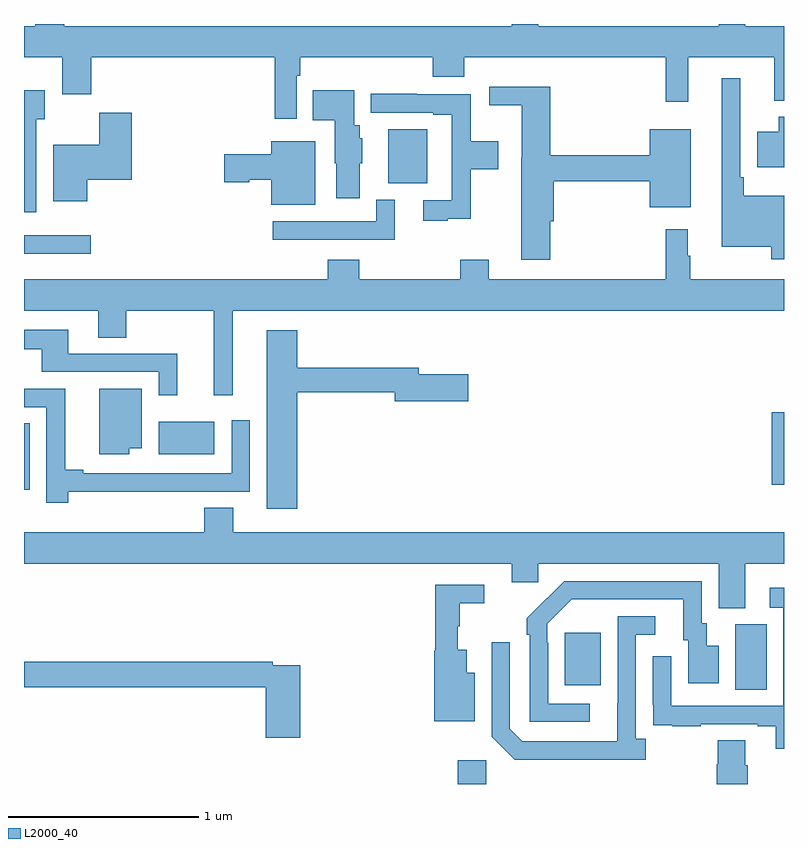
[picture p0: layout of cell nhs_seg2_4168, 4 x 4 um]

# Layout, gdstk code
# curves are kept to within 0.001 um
import gdstk
lib = gdstk.Library(unit=1e-6, precision=1e-09)
def R(c, l, rs):  # rectangles x0, y0, x1, y1
    for r in rs: c.add(gdstk.rectangle(r[:2], r[2:], *l))
def P(c, l, *ps):  # polygons
    for p in ps: c.add(gdstk.Polygon(p, *l))
L2000_40 = (2000, 40)

nhs_seg2_4168 = lib.new_cell('nhs_seg2_4168')
R(nhs_seg2_4168, L2000_40, [(337.283,655.8,337.434,655.924), (338.744,656.296,338.908,656.64), (337.847,656.321,338.035,656.596), (335,657.35,335.029,657.698), (338.936,657.375,339,657.756), (335.708,657.536,336.001,657.706), (335,658.592,335.35,658.689), (336.917,658.961,337.123,659.245)])
P(nhs_seg2_4168, L2000_40, [(336.435,659.528),(336.455,659.528),(336.455,659.624),(337.151,659.624),(337.151,659.522),(337.316,659.522),(337.316,659.624),(338.377,659.624),(338.377,659.391),(338.495,659.391),(338.495,659.624),(338.948,659.624),(338.948,659.396),(339,659.396),(339,659.788),(338.797,659.788),(338.797,659.8),(338.657,659.8),(338.657,659.788),(337.707,659.788),(337.707,659.8),(337.568,659.8),(337.568,659.788),(335.212,659.788),(335.212,659.8),(335.06,659.8),(335.06,659.788),(335,659.788),(335,659.624),(335.201,659.624),(335.201,659.43),(335.354,659.43),(335.354,659.624),(336.319,659.624),(336.319,659.301),(336.435,659.301)],
  [(339,658.897),(338.789,658.897),(338.789,658.993),(338.769,658.993),(338.769,659.515),(338.672,659.515),(338.672,658.628),(338.934,658.628),(338.934,658.563),(339,658.563)],
  [(337.769,658.761),(337.787,658.761),(337.787,658.972),(338.294,658.972),(338.294,658.835),(338.509,658.835),(338.509,659.245),(338.294,659.245),(338.294,659.108),(337.769,659.108),(337.769,659.47),(337.449,659.47),(337.449,659.372),(337.619,659.372),(337.619,659.097),(337.616,659.097),(337.616,658.56),(337.769,658.56)],
  [(335.065,659.298),(335.11,659.298),(335.11,659.452),(335,659.452),(335,658.809),(335.065,658.809)],
  [(336.766,659.067),(336.781,659.067),(336.781,659.199),(336.766,659.199),(336.766,659.268),(336.739,659.268),(336.739,659.452),(336.52,659.452),(336.52,659.294),(336.635,659.294),(336.635,659.067),(336.644,659.067),(336.644,658.884),(336.766,658.884)],
  [(337.229,658.775),(337.352,658.775),(337.352,659.035),(337.495,659.035),(337.495,659.182),(337.352,659.182),(337.352,659.43),(337.067,659.43),(337.067,659.432),(336.825,659.432),(336.825,659.334),(337.154,659.334),(337.154,659.322),(337.251,659.322),(337.251,658.872),(337.101,658.872),(337.101,658.764),(337.229,658.764)],
  [(335.332,658.979),(335.567,658.979),(335.567,659.332),(335.396,659.332),(335.396,659.164),(335.153,659.164),(335.153,658.868),(335.332,658.868)],
  [(339,659.311),(338.972,659.311),(338.972,659.233),(338.858,659.233),(338.858,659.045),(339,659.045)],
  [(336.532,659.182),(336.302,659.182),(336.302,659.114),(336.054,659.114),(336.054,658.967),(336.186,658.967),(336.186,658.979),(336.302,658.979),(336.302,658.85),(336.532,658.85)],
  [(336.952,658.876),(336.855,658.876),(336.855,658.761),(336.309,658.761),(336.309,658.665),(336.952,658.665)],
  [(336.098,658.292),(339,658.292),(339,658.456),(338.506,658.456),(338.506,658.58),(338.494,658.58),(338.494,658.72),(338.377,658.72),(338.377,658.456),(337.447,658.456),(337.447,658.558),(337.295,658.558),(337.295,658.456),(336.764,658.456),(336.764,658.558),(336.599,658.558),(336.599,658.456),(335,658.456),(335,658.292),(335.39,658.292),(335.39,658.15),(335.538,658.15),(335.538,658.292),(335.999,658.292),(335.999,657.846),(336.098,657.846)],
  [(335.807,658.065),(335.233,658.065),(335.233,658.192),(335,658.192),(335,658.088),(335.093,658.088),(335.093,657.969),(335.709,657.969),(335.709,657.846),(335.807,657.846)],
  [(336.437,657.862),(336.95,657.862),(336.95,657.815),(337.339,657.815),(337.339,657.957),(337.078,657.957),(337.078,657.991),(336.437,657.991),(336.437,658.189),(336.278,658.189),(336.278,657.249),(336.437,657.249)],
  [(335.554,657.566),(335.62,657.566),(335.62,657.88),(335.396,657.88),(335.396,657.536),(335.554,657.536)],
  [(335.234,657.338),(335.864,657.338),(335.864,657.339),(336.189,657.339),(336.189,657.715),(336.093,657.715),(336.093,657.435),(335.311,657.435),(335.311,657.455),(335.216,657.455),(335.216,657.879),(335,657.879),(335,657.783),(335.118,657.783),(335.118,657.279),(335.234,657.279)],
  [(338.797,656.96),(339,656.96),(339,657.124),(336.1,657.124),(336.1,657.254),(335.948,657.254),(335.948,657.124),(335,657.124),(335,656.96),(337.568,656.96),(337.568,656.862),(337.707,656.862),(337.707,656.96),(338.657,656.96),(338.657,656.725),(338.797,656.725)],
  [(337.978,656.223),(337.758,656.223),(337.758,656.543),(337.755,656.543),(337.755,656.643),(337.884,656.772),(338.471,656.772),(338.471,656.556),(338.495,656.556),(338.495,656.331),(338.656,656.331),(338.656,656.527),(338.593,656.527),(338.593,656.646),(338.568,656.646),(338.568,656.868),(337.844,656.868),(337.647,656.673),(337.647,656.585),(337.662,656.585),(337.662,656.127),(337.978,656.127)],
  [(337.372,656.386),(337.33,656.386),(337.33,656.506),(337.283,656.506),(337.283,656.63),(337.294,656.63),(337.294,656.752),(337.423,656.752),(337.423,656.85),(337.165,656.85),(337.165,656.502),(337.16,656.502),(337.16,656.129),(337.372,656.129)],
  [(339,656.833),(338.925,656.833),(338.925,656.727),(338.997,656.727),(338.997,656.211),(338.406,656.211),(338.406,656.473),(338.31,656.473),(338.31,656.218),(338.311,656.218),(338.311,656.109),(338.413,656.109),(338.413,656.103),(338.561,656.103),(338.561,656.115),(338.861,656.115),(338.861,656.103),(338.957,656.103),(338.957,655.986),(339,655.986)],
  [(338.272,656.038),(338.22,656.038),(338.22,656.586),(338.323,656.586),(338.323,656.682),(338.124,656.682),(338.123,656.025),(337.623,656.025),(337.557,656.091),(337.557,656.545),(337.461,656.545),(337.461,656.049),(337.582,655.928),(338.272,655.928)],
  [(336.455,656.424),(336.308,656.424),(336.308,656.444),(335,656.444),(335,656.308),(336.272,656.308),(336.272,656.043),(336.455,656.043)],
  [(338.81,655.898),(338.797,655.898),(338.797,656.03),(338.65,656.03),(338.65,655.905),(338.645,655.905),(338.645,655.8),(338.81,655.8)])

lib.write_gds('nhs_seg2_4168.gds')
